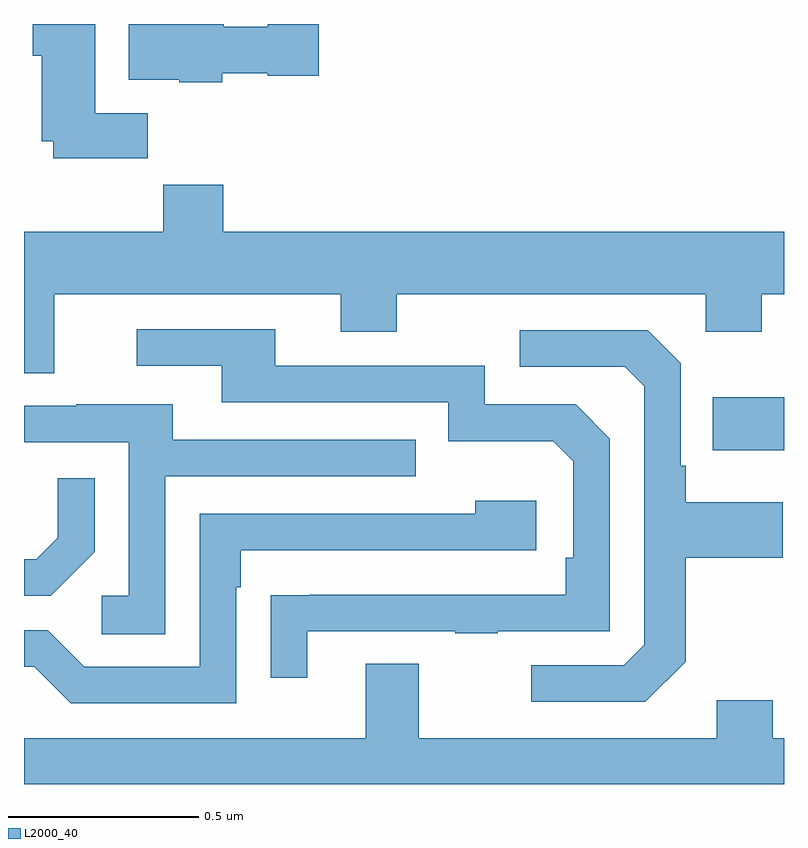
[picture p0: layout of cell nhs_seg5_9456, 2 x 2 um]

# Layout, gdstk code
import gdstk
lib = gdstk.Library(unit=1e-6, precision=1e-09)
def R(c, l, rs):  # rectangles x0, y0, x1, y1
    for r in rs: c.add(gdstk.rectangle(r[:2], r[2:], *l))
def P(c, l, *ps):  # polygons
    for p in ps: c.add(gdstk.Polygon(p, *l))
L2000_40 = (2000, 40)

nhs_seg5_9456 = lib.new_cell('nhs_seg5_9456')
R(nhs_seg5_9456, L2000_40, [(235.813,861.677,236,861.817)])
P(nhs_seg5_9456, L2000_40, [(234.326,862.564),(234.187,862.564),(234.187,862.799),(234.023,862.799),(234.023,862.716),(234.047,862.716),(234.047,862.49),(234.077,862.49),(234.077,862.446),(234.326,862.446)],
  [(234.522,862.67),(234.642,862.67),(234.642,862.663),(234.775,862.663),(234.775,862.799),(234.642,862.799),(234.642,862.792),(234.526,862.792),(234.526,862.799),(234.275,862.799),(234.275,862.652),(234.408,862.652),(234.408,862.646),(234.522,862.646)],
  [(234.079,862.088),(234.833,862.088),(234.833,861.989),(234.981,861.989),(234.981,862.088),(235.794,862.088),(235.794,861.989),(235.941,861.989),(235.941,862.088),(236,862.088),(236,862.252),(234.524,862.252),(234.524,862.376),(234.367,862.376),(234.367,862.252),(234,862.252),(234,861.88),(234.079,861.88)],
  [(234.745,861.201),(235.135,861.201),(235.135,861.196),(235.247,861.196),(235.247,861.201),(235.542,861.201),(235.542,861.708),(235.452,861.798),(235.212,861.798),(235.212,861.9),(234.661,861.9),(234.661,861.996),(234.297,861.996),(234.297,861.9),(234.521,861.9),(234.521,861.804),(235.116,861.804),(235.116,861.701),(235.393,861.701),(235.446,861.648),(235.446,861.394),(235.426,861.394),(235.426,861.297),(234.751,861.297),(234.751,861.296),(234.649,861.296),(234.649,861.078),(234.745,861.078)],
  [(235.741,861.121),(235.741,861.394),(235.997,861.394),(235.997,861.541),(235.741,861.541),(235.741,861.637),(235.728,861.637),(235.728,861.906),(235.641,861.993),(235.305,861.993),(235.305,861.897),(235.581,861.897),(235.632,861.846),(235.632,861.165),(235.578,861.111),(235.335,861.111),(235.335,861.015),(235.635,861.015)],
  [(234.372,861.609),(235.031,861.609),(235.031,861.705),(234.391,861.705),(234.391,861.799),(234.137,861.799),(234.137,861.795),(234,861.795),(234,861.699),(234.276,861.699),(234.276,861.294),(234.204,861.294),(234.204,861.193),(234.372,861.193)],
  [(234.186,861.41),(234.186,861.604),(234.089,861.604),(234.089,861.447),(234.032,861.39),(234,861.39),(234,861.294),(234.07,861.294)],
  [(234.558,861.317),(234.571,861.317),(234.571,861.414),(235.348,861.414),(235.348,861.544),(235.187,861.544),(235.187,861.51),(234.462,861.51),(234.462,861.108),(234.159,861.108),(234.063,861.204),(234,861.204),(234,861.108),(234.027,861.108),(234.123,861.012),(234.558,861.012)],
  [(236,860.92),(235.971,860.92),(235.971,861.019),(235.823,861.019),(235.823,860.92),(235.039,860.92),(235.039,861.115),(234.899,861.115),(234.899,860.92),(234,860.92),(234,860.799),(236,860.799)])

lib.write_gds('nhs_seg5_9456.gds')
